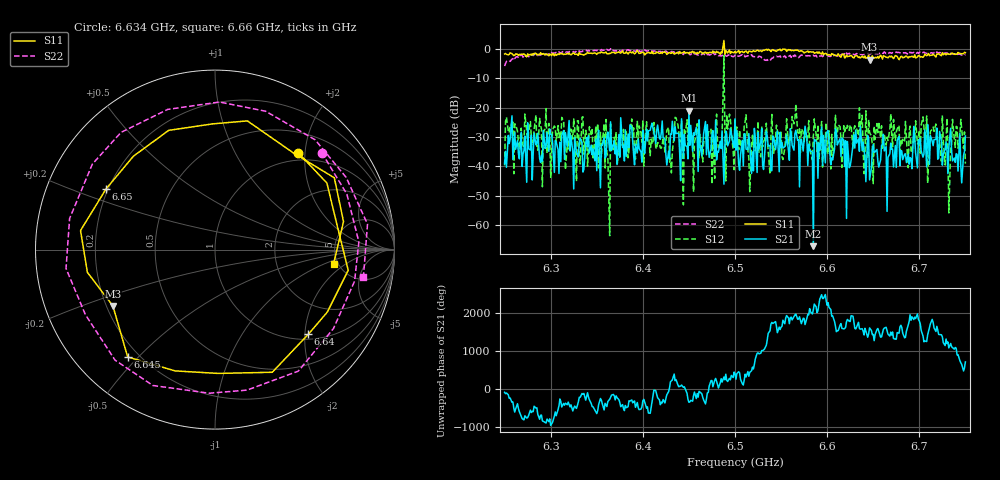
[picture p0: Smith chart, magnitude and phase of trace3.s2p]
# Hz S RI R 50
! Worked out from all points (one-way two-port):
!   401 points, 6.25 GHz to 6.75 GHz, reference 50 ohm
!   highest |S21| = -21.10 dB at 6.45 GHz (marker M1); lowest = -67.1 dB at 6.585 GHz (marker M2)
!   lowest |S11| = -3.7 dB at 6.646 GHz (marker M3), VSWR 4.71, Z = 11.3 - j12.3 ohm
!   |S11| at or under -10 dB: nowhere
!   |S22| runs from -5.9 to 0.0 dB; largest |S21 - S12| = 0.76
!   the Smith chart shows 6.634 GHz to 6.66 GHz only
!   S11 on the Smith chart (normalised r, x): 6.634 GHz: 0.86, +1.87; 6.64 GHz: 1.12, -2.08; 6.645 GHz: 0.16, -0.47; 6.65 GHz: 0.19, +0.25; 6.66 GHz: 4.59, -1.31
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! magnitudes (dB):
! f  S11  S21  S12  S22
! 6.25 GHz  -1.8  -39.1  -39.7  -5.9
! 6.256 GHz  -1.4  -30.8  -25.8  -4.3
! 6.334 GHz  -1.9  -31.8  -23.3  -0.9
! 6.359 GHz  -1.4  -37.1  -40.6  -0.5
! 6.361 GHz  -1.7  -29.9  -35.3  -0.2
! 6.388 GHz  -1.4  -26.7  -23.9  -0.7
! 6.418 GHz  -1.6  -30.5  -32.2  -0.9
! 6.45 GHz  -1.7  -21.1  -26.5  -1.4
! 6.5 GHz  -0.9  -23.8  -24.3  -2.2
! 6.575 GHz  -1.4  -30.9  -32.2  -2.3
! 6.584 GHz  -1.1  -35.2  -37.8  -2.4
! 6.585 GHz  -1.1  -67.1  -29.7  -2.2
! 6.611 GHz  -2.3  -32.7  -28.8  -2.5
! 6.624 GHz  -2.5  -40.5  -27.7  -1.6
! 6.634 GHz  -3.0  -30.7  -29.6  -1.9
! 6.64 GHz  -3.1  -34.3  -42.5  -1.7
! 6.645 GHz  -2.3  -30.3  -24.1  -1.6
! 6.646 GHz  -3.7  -44.6  -28.5  -1.9
! 6.65 GHz  -3.2  -32.6  -45.9  -1.6
! 6.66 GHz  -3.5  -32.5  -33.8  -1.5
! 6.668 GHz  -2.5  -35.7  -27.5  -1.3
! 6.75 GHz  -1.3  -29.7  -39.1  -2.0
